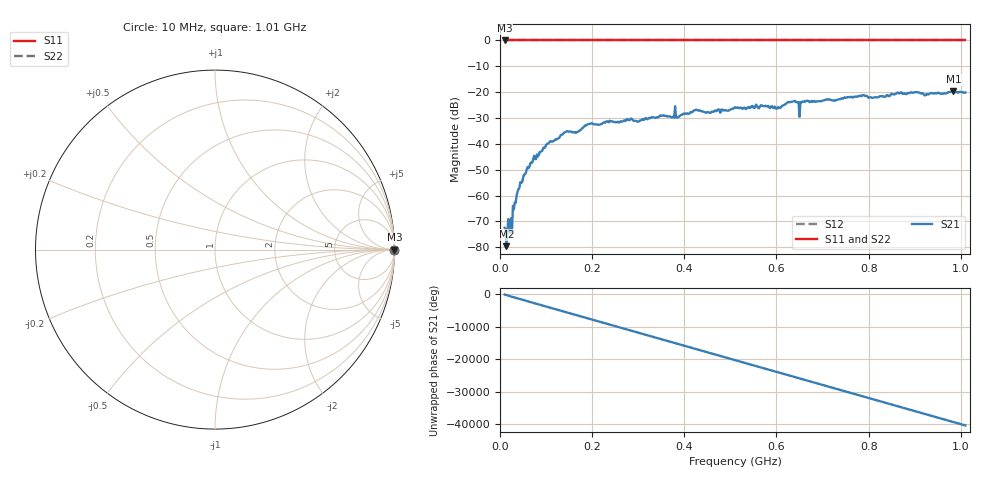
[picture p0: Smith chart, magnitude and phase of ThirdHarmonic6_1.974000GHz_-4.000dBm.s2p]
! 8/16/2025 11:44:29 PM
! C:\ANRITSUVNA\TEMP\TEMP.S2P
! CHANNEL.1
! TR.MEASUREMENT
! RAW.DATA
! RF.CORRECTION.OFF
! AVERAGING.OFF
! IF.BANDWIDTH: 5KHZ
! SWEEPTYPE:  FREQ.SWEEP(Linear)
! Reference Plane Port Info
! PORT:  PORT1  PORT2
! DISTANCE:  0  m  0  m
! TIME:  0  s  0  s
! PHASE.OFFSET:  0  deg.  0  deg.
! LOSS:  0  dB  0  dB
! REF.LOSS:  0  dB  0  dB
! REF.FREQ:  0  Hz  0  Hz
! Power Info
! POWER:  -20  dBm  -20  dBm
! EFF.POWER:  -20  dBm  -20  dBm
! SOURCE.ATTEN:  0  dB  0  dB
! TEST.ATTEN:  0  dB  0  dB
# GHZ S RI R 50.0
! FREQ.GHZ  S11RE  S11IM  S21RE  S21IM  S12RE  S12IM  S22RE  S22IM
!; PortSelection: Port_12
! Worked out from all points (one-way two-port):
!   501 points, 10 MHz to 1.01 GHz, reference 50 ohm
!   highest |S21| = -19.71 dB at 984 MHz (marker M1); lowest = -79.6 dB at 14 MHz (marker M2)
!   lowest |S11| = 0.0 dB at 10 MHz (marker M3)
!   |S11| at or under -10 dB: nowhere
!   |S22| runs from 0.0 to 0.0 dB; largest |S21 - S12| = 1.1
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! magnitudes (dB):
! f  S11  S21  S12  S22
! 10 MHz  0.0  -72.4  0.0  0.0
! 14 MHz  0.0  -79.6  0.0  0.0
! 18 MHz  0.0  -69.1  0.0  0.0
! 20 MHz  0.0  -72.1  0.0  0.0
! 24 MHz  0.0  -68.7  0.0  0.0
! 32 MHz  0.0  -62.7  0.0  0.0
! 42 MHz  0.0  -57.1  0.0  0.0
! 70 MHz  0.0  -47.2  0.0  0.0
! 106 MHz  0.0  -39.6  0.0  0.0
! 142 MHz  0.0  -35.4  0.0  0.0
! 178 MHz  0.0  -34.0  0.0  0.0
! 196 MHz  0.0  -32.2  0.0  0.0
! 344 MHz  0.0  -29.7  0.0  0.0
! 386 MHz  0.0  -29.8  0.0  0.0
! 510 MHz  0.0  -25.9  0.0  0.0
! 604 MHz  0.0  -25.8  0.0  0.0
! 628 MHz  0.0  -23.9  0.0  0.0
! 650 MHz  0.0  -29.5  0.0  0.0
! 678 MHz  0.0  -23.7  0.0  0.0
! 844 MHz  0.0  -21.6  0.0  0.0
! 984 MHz  0.0  -19.7  0.0  0.0
! 1.01 GHz  0.0  -20.1  0.0  0.0
